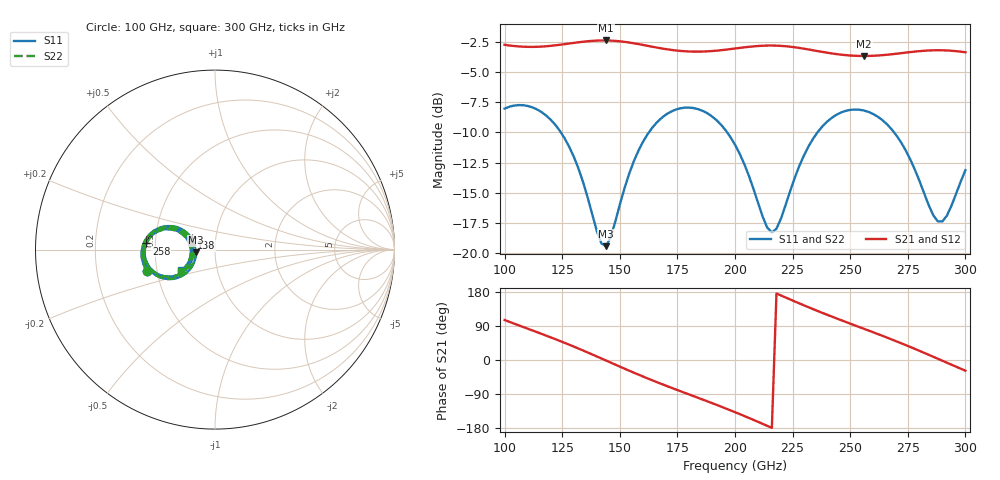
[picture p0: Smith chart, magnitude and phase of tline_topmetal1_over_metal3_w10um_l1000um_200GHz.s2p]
#  GHZ S DB R 50
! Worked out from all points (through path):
!   101 points, 100 GHz to 300 GHz, reference 50 ohm
!   highest |S21| = -2.41 dB at 144 GHz (marker M1); lowest = -3.7 dB at 256 GHz (marker M2)
!   group delay of S21, straight-line fit = 6.86 ps
!   lowest |S11| = -19.4 dB at 144 GHz (marker M3), VSWR 1.24, Z = 40.4 - j1.2 ohm
!   |S11| at or under -10 dB: 124.4 GHz to 162.7 GHz (38.28 GHz wide, 26.7 % of centre); 196.6 GHz to 235.8 GHz (39.28 GHz wide, 18.2 % of centre); 269 GHz to end of sweep
!   |S22| runs from -19.3 to -7.7 dB; largest |S21 - S12| = 8.5e-14
!   S11 on the Smith chart (normalised r, x): 100 GHz: 0.44, -0.12; 138 GHz: 0.76, +0.10; 258 GHz: 0.45, +0.04; 300 GHz: 0.67, -0.16
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100  -8.04 -162.7  -2.77 105.5  -2.77 105.5  -8.03 -162.6
118  -8.61 166.1  -2.89 64.4  -2.89 64.4  -8.60 166.3
126  -10.48 154.0  -2.71 45.4  -2.71 45.4  -10.47 154.3
134  -14.09 148.3  -2.51 25.2  -2.51 25.2  -14.05 148.7
138  -16.76 153.7  -2.44 14.7  -2.44 14.7  -16.69 154.2
144  -19.41 -172.1  -2.41 -1.3  -2.41 -1.3  -19.28 -172.2
156  -12.43 -141.5  -2.64 -33.2  -2.64 -33.2  -12.41 -141.8
168  -8.84 -157.1  -3.06 -63.0  -3.06 -63.0  -8.83 -157.2
184  -8.09 176.8  -3.33 -99.9  -3.33 -99.9  -8.08 176.8
200  -11.03 154.2  -3.07 -137.7  -3.07 -137.7  -11.02 154.3
208  -14.67 152.7  -2.90 -158.0  -2.90 -158.0  -14.66 152.8
216  -18.27 -177.6  -2.83 -179.1  -2.83 -179.1  -18.25 -177.5
224  -14.82 -146.6  -2.93 159.6  -2.93 159.6  -14.81 -146.6
234  -10.50 -149.7  -3.22 134.0  -3.22 134.0  -10.49 -149.6
244  -8.56 -163.6  -3.53 109.9  -3.53 109.9  -8.55 -163.4
256  -8.20 177.9  -3.69 82.3  -3.69 82.3  -8.20 178.1
258  -8.32 174.9  -3.69 77.7  -3.69 77.7  -8.31 175.1
268  -9.75 160.9  -3.55 54.3  -3.55 54.3  -9.75 161.1
280  -13.99 154.7  -3.29 24.4  -3.29 24.4  -13.97 155.0
288  -17.36 177.5  -3.22 3.4  -3.22 3.4  -17.32 177.8
292  -16.88 -163.4  -3.23 -7.2  -3.23 -7.2  -16.85 -163.3
300  -13.13 -148.3  -3.38 -28.2  -3.38 -28.2  -13.11 -148.1
